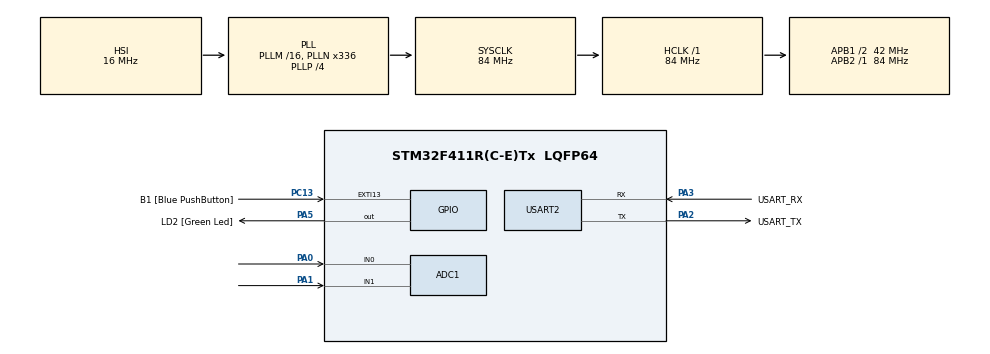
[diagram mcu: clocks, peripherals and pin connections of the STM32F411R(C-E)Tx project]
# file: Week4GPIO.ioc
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Mcu.Family=STM32F4
RCC.CortexFreq_Value=84000000
ADC1.ContinuousConvMode=ENABLE
VP_ADC1_TempSens_Input.Mode=IN-TempSens
PA14.GPIO_Label=TCK
RCC.SYSCLKSource=RCC_SYSCLKSOURCE_PLLCLK
ProjectManager.StackSize=0x400
PH0\ -\ OSC_IN.Signal=RCC_OSC_IN
RCC.HCLKFreq_Value=84000000
RCC.APB2TimFreq_Value=84000000
Dma.ADC1.0.Direction=DMA_PERIPH_TO_MEMORY
NVIC.DMA2_Stream0_IRQn=true\:0\:0\:false\:false\:true\:false\:true
Dma.ADC1.0.MemDataAlignment=DMA_MDATAALIGN_WORD
RCC.AHBFreq_Value=84000000
NVIC.EXTI15_10_IRQn=true\:0\:0\:false\:false\:true\:true\:true
ADC1.Channel-0\#ChannelRegularConversion=ADC_CHANNEL_0
RCC.HSE_VALUE=8000000
ADC1.ScanConvMode=ENABLE
PC13-ANTI_TAMP.Signal=GPXTI13
VP_ADC1_Vref_Input.Mode=IN-Vrefint
PC14-OSC32_IN.Mode=LSE-External-Oscillator
PA14.Mode=Serial_Wire
Dma.ADC1.0.PeriphInc=DMA_PINC_DISABLE
SH.ADCx_IN0.0=ADC1_IN0,IN0
ADC1.SamplingTime-0\#ChannelRegularConversion=ADC_SAMPLETIME_480CYCLES
RCC.FLatency-AdvancedSettings=FLASH_LATENCY_2
Mcu.Package=LQFP64
USART2.VirtualMode=VM_ASYNC
PA2.GPIO_Label=USART_TX
SH.ADCx_IN1.0=ADC1_IN1,IN1
RCC.APB1TimFreq_Value=84000000
Dma.ADC1.0.FIFOMode=DMA_FIFOMODE_DISABLE
Dma.Request0=ADC1
PA3.Signal=USART2_RX
PB3.GPIO_Label=SWO
PC15-OSC32_OUT.Mode=LSE-External-Oscillator
Dma.ADC1.0.Instance=DMA2_Stream0
ADC1.Rank-0\#ChannelRegularConversion=1
PC13-ANTI_TAMP.GPIO_PuPd=GPIO_PULLUP
PC13-ANTI_TAMP.GPIO_Label=B1 [Blue PushButton]
PH1\ -\ OSC_OUT.Mode=HSE-External-Clock-Source
RCC.APB1CLKDivider=RCC_HCLK_DIV2
PC14-OSC32_IN.Signal=RCC_OSC32_IN
PA0-WKUP.Signal=ADCx_IN0
PA13.Signal=SYS_JTMS-SWDIO
PA3.Mode=Asynchronous
Dma.ADC1.0.PeriphDataAlignment=DMA_PDATAALIGN_WORD
PH0\ -\ OSC_IN.Mode=HSE-External-Clock-Source
ProjectManager.TargetToolchain=STM32CubeIDE
Dma.ADC1.0.Mode=DMA_CIRCULAR
Dma.ADC1.0.Priority=DMA_PRIORITY_LOW
ADC1.Channel-1\#ChannelRegularConversion=ADC_CHANNEL_1
PC15-OSC32_OUT.Signal=RCC_OSC32_OUT
PA1.Signal=ADCx_IN1
PA5.Signal=GPIO_Output
PH1\ -\ OSC_OUT.Signal=RCC_OSC_OUT
board=NUCLEO-F411RE
RCC.VCOOutputFreq_Value=336000000
RCC.APB2Freq_Value=84000000
ADC1.DMAContinuousRequests=ENABLE
ADC1.NbrOfConversion=2
PA13.Mode=Serial_Wire
Mcu.Name=STM32F411R(C-E)Tx
PA13.GPIO_Label=TMS
PA2.Signal=USART2_TX
RCC.48MHZClocksFreq_Value=84000000
PB3.Signal=SYS_JTDO-SWO
ADC1.SamplingTime-1\#ChannelRegularConversion=ADC_SAMPLETIME_480CYCLES
RCC.SYSCLKFreq_VALUE=84000000
ADC1.master=1
PA5.GPIO_Label=LD2 [Green Led]
ADC1.Rank-1\#ChannelRegularConversion=2
PC13-ANTI_TAMP.GPIO_ModeDefaultEXTI=GPIO_MODE_IT_RISING_FALLING
PA14.Signal=SYS_JTCK-SWCLK
Dma.ADC1.0.MemInc=DMA_MINC_ENABLE
ProjectManager.HeapSize=0x200
RCC.HSI_VALUE=16000000
RCC.PLLP=RCC_PLLP_DIV4
NVIC.PriorityGroup=NVIC_PRIORITYGROUP_0
ADC1.NbrOfConversionFlag=1
RCC.PLLN=336
PA2.Mode=Asynchronous
RCC.APB1Freq_Value=42000000
PA3.GPIO_Label=USART_RX

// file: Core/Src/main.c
/* USER CODE BEGIN Header */
/**
  ******************************************************************************
  * @file           : main.c
  * @brief          : Main program body
  ******************************************************************************
  * @attention
  *
  * <h2><center>&copy; Copyright (c) 2021 STMicroelectronics.
  * All rights reserved.</center></h2>
  *
  * This software component is licensed by ST under BSD 3-Clause license,
  * the "License"; You may not use this file except in compliance with the
  * License. You may obtain a copy of the License at:
  *                        opensource.org/licenses/BSD-3-Clause
  *
  ******************************************************************************
  */
/* USER CODE END Header */
#include "main.h"

ADC_HandleTypeDef hadc1;
DMA_HandleTypeDef hdma_adc1;

UART_HandleTypeDef huart2;

/* USER CODE BEGIN PV */
uint32_t ADCData[2] = {0};
uint32_t ButtonState[2] = {1,1};
uint32_t downTime = 0;
uint32_t TimeStamp = 0;
uint32_t Time = 0;
/* USER CODE END PV */

void SystemClock_Config(void);
static void MX_GPIO_Init(void);
static void MX_DMA_Init(void);
static void MX_USART2_UART_Init(void);
static void MX_ADC1_Init(void);

int main(void)
{

  /* MCU Configuration--------------------------------------------------------*/

  /* Reset of all peripherals, Initializes the Flash interface and the Systick. */
  HAL_Init();

  /* Configure the system clock */
  SystemClock_Config();

  /* Initialize all configured peripherals */
  MX_GPIO_Init();
  MX_DMA_Init();
  MX_USART2_UART_Init();
  MX_ADC1_Init();
  /* USER CODE BEGIN 2 */
  HAL_ADC_Start_DMA(&hadc1, ADCData, 2);
  /* USER CODE END 2 */

  /* Infinite loop */
  /* USER CODE BEGIN WHILE */
  while (1)
  {
	  if(HAL_GetTick() - TimeStamp >= downTime)
	  {
	  	  HAL_GPIO_WritePin(LD2_GPIO_Port, LD2_Pin, GPIO_PIN_SET);
	  }
    /* USER CODE END WHILE */

  }
}

void SystemClock_Config(void)
{
  RCC_OscInitTypeDef RCC_OscInitStruct = {0};
  RCC_ClkInitTypeDef RCC_ClkInitStruct = {0};

  /** Configure the main internal regulator output voltage
  */
  __HAL_RCC_PWR_CLK_ENABLE();
  __HAL_PWR_VOLTAGESCALING_CONFIG(PWR_REGULATOR_VOLTAGE_SCALE1);
  /** Initializes the RCC Oscillators according to the specified parameters
  * in the RCC_OscInitTypeDef structure.
  */
  RCC_OscInitStruct.OscillatorType = RCC_OSCILLATORTYPE_HSI;
  RCC_OscInitStruct.HSIState = RCC_HSI_ON;
  RCC_OscInitStruct.HSICalibrationValue = RCC_HSICALIBRATION_DEFAULT;
  RCC_OscInitStruct.PLL.PLLState = RCC_PLL_ON;
  RCC_OscInitStruct.PLL.PLLSource = RCC_PLLSOURCE_HSI;
  RCC_OscInitStruct.PLL.PLLM = 16;
  RCC_OscInitStruct.PLL.PLLN = 336;
  RCC_OscInitStruct.PLL.PLLP = RCC_PLLP_DIV4;
  RCC_OscInitStruct.PLL.PLLQ = 4;
  if (HAL_RCC_OscConfig(&RCC_OscInitStruct) != HAL_OK)
  {
    Error_Handler();
  }
  /** Initializes the CPU, AHB and APB buses clocks
  */
  RCC_ClkInitStruct.ClockType = RCC_CLOCKTYPE_HCLK|RCC_CLOCKTYPE_SYSCLK
                              |RCC_CLOCKTYPE_PCLK1|RCC_CLOCKTYPE_PCLK2;
  RCC_ClkInitStruct.SYSCLKSource = RCC_SYSCLKSOURCE_PLLCLK;
  RCC_ClkInitStruct.AHBCLKDivider = RCC_SYSCLK_DIV1;
  RCC_ClkInitStruct.APB1CLKDivider = RCC_HCLK_DIV2;
  RCC_ClkInitStruct.APB2CLKDivider = RCC_HCLK_DIV1;

  if (HAL_RCC_ClockConfig(&RCC_ClkInitStruct, FLASH_LATENCY_2) != HAL_OK)
  {
    Error_Handler();
  }
}

static void MX_ADC1_Init(void)
{

  ADC_ChannelConfTypeDef sConfig = {0};

  /** Configure the global features of the ADC (Clock, Resolution, Data Alignment and number of conversion)
  */
  hadc1.Instance = ADC1;
  hadc1.Init.ClockPrescaler = ADC_CLOCK_SYNC_PCLK_DIV4;
  hadc1.Init.Resolution = ADC_RESOLUTION_12B;
  hadc1.Init.ScanConvMode = ENABLE;
  hadc1.Init.ContinuousConvMode = ENABLE;
  hadc1.Init.DiscontinuousConvMode = DISABLE;
  hadc1.Init.ExternalTrigConvEdge = ADC_EXTERNALTRIGCONVEDGE_NONE;
  hadc1.Init.ExternalTrigConv = ADC_SOFTWARE_START;
  hadc1.Init.DataAlign = ADC_DATAALIGN_RIGHT;
  hadc1.Init.NbrOfConversion = 2;
  hadc1.Init.DMAContinuousRequests = ENABLE;
  hadc1.Init.EOCSelection = ADC_EOC_SINGLE_CONV;
  if (HAL_ADC_Init(&hadc1) != HAL_OK)
  {
    Error_Handler();
  }
  /** Configure for the selected ADC regular channel its corresponding rank in the sequencer and its sample time.
  */
  sConfig.Channel = ADC_CHANNEL_0;
  sConfig.Rank = 1;
  sConfig.SamplingTime = ADC_SAMPLETIME_480CYCLES;
  if (HAL_ADC_ConfigChannel(&hadc1, &sConfig) != HAL_OK)
  {
    Error_Handler();
  }
  /** Configure for the selected ADC regular channel its corresponding rank in the sequencer and its sample time.
  */
  sConfig.Channel = ADC_CHANNEL_1;
  sConfig.Rank = 2;
  if (HAL_ADC_ConfigChannel(&hadc1, &sConfig) != HAL_OK)
  {
    Error_Handler();
  }

}

static void MX_USART2_UART_Init(void)
{

  huart2.Instance = USART2;
  huart2.Init.BaudRate = 115200;
  huart2.Init.WordLength = UART_WORDLENGTH_8B;
  huart2.Init.StopBits = UART_STOPBITS_1;
  huart2.Init.Parity = UART_PARITY_NONE;
  huart2.Init.Mode = UART_MODE_TX_RX;
  huart2.Init.HwFlowCtl = UART_HWCONTROL_NONE;
  huart2.Init.OverSampling = UART_OVERSAMPLING_16;
  if (HAL_UART_Init(&huart2) != HAL_OK)
  {
    Error_Handler();
  }

}

static void MX_DMA_Init(void)
{

  /* DMA controller clock enable */
  __HAL_RCC_DMA2_CLK_ENABLE();

  /* DMA interrupt init */
  /* DMA2_Stream0_IRQn interrupt configuration */
  HAL_NVIC_SetPriority(DMA2_Stream0_IRQn, 0, 0);
  HAL_NVIC_EnableIRQ(DMA2_Stream0_IRQn);

}

static void MX_GPIO_Init(void)
{
  GPIO_InitTypeDef GPIO_InitStruct = {0};

  /* GPIO Ports Clock Enable */
  __HAL_RCC_GPIOC_CLK_ENABLE();
  __HAL_RCC_GPIOH_CLK_ENABLE();
  __HAL_RCC_GPIOA_CLK_ENABLE();
  __HAL_RCC_GPIOB_CLK_ENABLE();

  /*Configure GPIO pin Output Level */
  HAL_GPIO_WritePin(LD2_GPIO_Port, LD2_Pin, GPIO_PIN_RESET);

  /*Configure GPIO pin : B1_Pin */
  GPIO_InitStruct.Pin = B1_Pin;
  GPIO_InitStruct.Mode = GPIO_MODE_IT_RISING_FALLING;
  GPIO_InitStruct.Pull = GPIO_PULLUP;
  HAL_GPIO_Init(B1_GPIO_Port, &GPIO_InitStruct);

  /*Configure GPIO pin : LD2_Pin */
  GPIO_InitStruct.Pin = LD2_Pin;
  GPIO_InitStruct.Mode = GPIO_MODE_OUTPUT_PP;
  GPIO_InitStruct.Pull = GPIO_NOPULL;
  GPIO_InitStruct.Speed = GPIO_SPEED_FREQ_LOW;
  HAL_GPIO_Init(LD2_GPIO_Port, &GPIO_InitStruct);

  /* EXTI interrupt init*/
  HAL_NVIC_SetPriority(EXTI15_10_IRQn, 0, 0);
  HAL_NVIC_EnableIRQ(EXTI15_10_IRQn);

}

/* USER CODE BEGIN 4 */
void HAL_GPIO_EXTI_Callback(uint16_t GPIO_Pin)
{
	if(GPIO_Pin == GPIO_PIN_13)
	{
		if(HAL_GetTick() - TimeStamp >= 100)
		{
			ButtonState[0] = HAL_GPIO_ReadPin(B1_GPIO_Port, B1_Pin);
			if(ButtonState[0] == GPIO_PIN_RESET && ButtonState[1] == GPIO_PIN_SET)
			{
				downTime = 1000 + ((22695477 * ADCData[0])+ADCData[1]) % 10000;
				HAL_GPIO_WritePin(LD2_GPIO_Port, LD2_Pin, GPIO_PIN_RESET);
				TimeStamp = HAL_GetTick();
				Time = 0;
			}
			else
			{
				if(HAL_GPIO_ReadPin(LD2_GPIO_Port, LD2_Pin) == GPIO_PIN_RESET)
				{
					Time = -1;
					HAL_GPIO_WritePin(LD2_GPIO_Port, LD2_Pin, GPIO_PIN_SET);
				}
				else
				{
					Time = (HAL_GetTick() - TimeStamp) - downTime;
				}
				TimeStamp = HAL_GetTick();
			}
			ButtonState[1] = ButtonState[0];
		}
	}
}
/* USER CODE END 4 */

void Error_Handler(void)
{
  __disable_irq();
  while (1)
  {
  }
}

/************************ (C) COPYRIGHT STMicroelectronics *****END OF FILE****/
